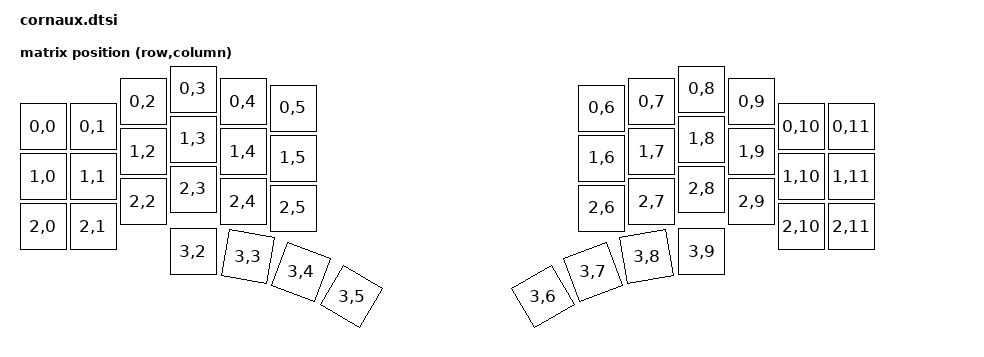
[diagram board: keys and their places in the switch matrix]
#include <physical_layouts.dtsi>
#include <dt-bindings/zmk/matrix_transform.h>

/ {
    chosen {
      zephyr,display = &oled;
      zmk,physical-layout = &default_layout;
      // zmk,kscan = &kscan0;
      // zmk,matrix,transform = &default_transform;
    };

    default_transform: keymap_transform_0 {
      compatible = "zmk,matrix-transform";
      rows = <4>;
      columns = <12>;
      // | SW1  | SW2  | SW3  | SW4  | SW5  | SW6  |   | SW6  | SW5  | SW4  | SW3  | SW2  | SW1  |
      // | SW7  | SW8  | SW9  | SW10 | SW11 | SW12 |   | SW12 | SW11 | SW10 | SW9  | SW8  | SW7  |
      // | SW13 | SW14 | SW15 | SW16 | SW17 | SW18 |   | SW18 | SW17 | SW16 | SW15 | SW14 | SW13 |
      //               | SW19 | SW20 | SW21 | SW22 |   | SW22 | SW21 | SW20 | SW19 |
      map = <
        RC(0,0) RC(0,1) RC(0,2) RC(0,3) RC(0,4) RC(0,5)  RC(0,6) RC(0,7) RC(0,8) RC(0,9) RC(0,10) RC(0,11)
        RC(1,0) RC(1,1) RC(1,2) RC(1,3) RC(1,4) RC(1,5)  RC(1,6) RC(1,7) RC(1,8) RC(1,9) RC(1,10) RC(1,11)
        RC(2,0) RC(2,1) RC(2,2) RC(2,3) RC(2,4) RC(2,5)  RC(2,6) RC(2,7) RC(2,8) RC(2,9) RC(2,10) RC(2,11)
                        RC(3,2) RC(3,3) RC(3,4) RC(3,5)  RC(3,6) RC(3,7) RC(3,8) RC(3,9)
      >;
    };

    kscan0: kscan {
      compatible = "zmk,kscan-gpio-matrix";
      diode-direction = "col2row";
      wakeup-source;
    };

    default_layout: default_layout {
      compatible = "zmk,physical-layout";
      display-name = "Default Layout";
      transform = <&default_transform>;
      kscan = <&kscan0>;
      keys  //                     w   h    x    y     rot    rx    ry
        = <&key_physical_attrs 100 100    0   75       0     0     0>
        , <&key_physical_attrs 100 100  100   75       0     0     0>
        , <&key_physical_attrs 100 100  200   25       0     0     0>
        , <&key_physical_attrs 100 100  300    0       0     0     0>
        , <&key_physical_attrs 100 100  400   25       0     0     0>
        , <&key_physical_attrs 100 100  500   38       0     0     0>
        , <&key_physical_attrs 100 100 1117   38       0     0     0>
        , <&key_physical_attrs 100 100 1217   25       0     0     0>
        , <&key_physical_attrs 100 100 1317    0       0     0     0>
        , <&key_physical_attrs 100 100 1417   25       0     0     0>
        , <&key_physical_attrs 100 100 1517   75       0     0     0>
        , <&key_physical_attrs 100 100 1617   75       0     0     0>

        , <&key_physical_attrs 100 100    0  175       0     0     0>
        , <&key_physical_attrs 100 100  100  175       0     0     0>
        , <&key_physical_attrs 100 100  200  125       0     0     0>
        , <&key_physical_attrs 100 100  300  100       0     0     0>
        , <&key_physical_attrs 100 100  400  125       0     0     0>
        , <&key_physical_attrs 100 100  500  138       0     0     0>
        , <&key_physical_attrs 100 100 1117  138       0     0     0>
        , <&key_physical_attrs 100 100 1217  125       0     0     0>
        , <&key_physical_attrs 100 100 1317  100       0     0     0>
        , <&key_physical_attrs 100 100 1417  125       0     0     0>
        , <&key_physical_attrs 100 100 1517  175       0     0     0>
        , <&key_physical_attrs 100 100 1617  175       0     0     0>

        , <&key_physical_attrs 100 100    0  275       0     0     0>
        , <&key_physical_attrs 100 100  100  275       0     0     0>
        , <&key_physical_attrs 100 100  200  225       0     0     0>
        , <&key_physical_attrs 100 100  300  200       0     0     0>
        , <&key_physical_attrs 100 100  400  225       0     0     0>
        , <&key_physical_attrs 100 100  500  238       0     0     0>
        , <&key_physical_attrs 100 100 1117  238       0     0     0>
        , <&key_physical_attrs 100 100 1217  225       0     0     0>
        , <&key_physical_attrs 100 100 1317  200       0     0     0>
        , <&key_physical_attrs 100 100 1417  225       0     0     0>
        , <&key_physical_attrs 100 100 1517  275       0     0     0>
        , <&key_physical_attrs 100 100 1617  275       0     0     0>

        , <&key_physical_attrs 100 100  300  325       0     0     0>
        , <&key_physical_attrs 100 100  410  335    1000   460   385>
        , <&key_physical_attrs 100 100  516  366    2000   566   416>
        , <&key_physical_attrs 100 100  617  415    3000   667   465>
        , <&key_physical_attrs 100 100 1000  415 (-3000)  1050   465>
        , <&key_physical_attrs 100 100 1100  366 (-2000)  1150   416>
        , <&key_physical_attrs 100 100 1207  335 (-1000)  1257   385>
        , <&key_physical_attrs 100 100 1317  325       0     0     0>
        ;
    };

    position_map {
      compatible = "zmk,physical-layout-position-map";

      complete;

      default_layout {
        physical-layout = <&default_layout>;
        positions
          = < 0  1  2  3  4  5     6  7  8  9 10 11>
          , <12 13 14 15 16 17    18 19 20 21 22 23>
          , <24 25 26 27 28 29    30 31 32 33 34 35>
          , <      36 37 38 39    40 41 42 43      >;
      };
    };
};

&pro_micro_i2c {
  status = "okay";

  oled: ssd1306@3c {
    compatible = "solomon,ssd1306fb";
    reg = <0x3c>;
    width = <128>;
    height = <32>;
    segment-offset = <0>;
    page-offset = <0>;
    display-offset = <0>;
    multiplex-ratio = <31>;
    segment-remap;
    com-invdir;
    com-sequential;
    inversion-on;
    prechargep = <0x22>;
  };
};
